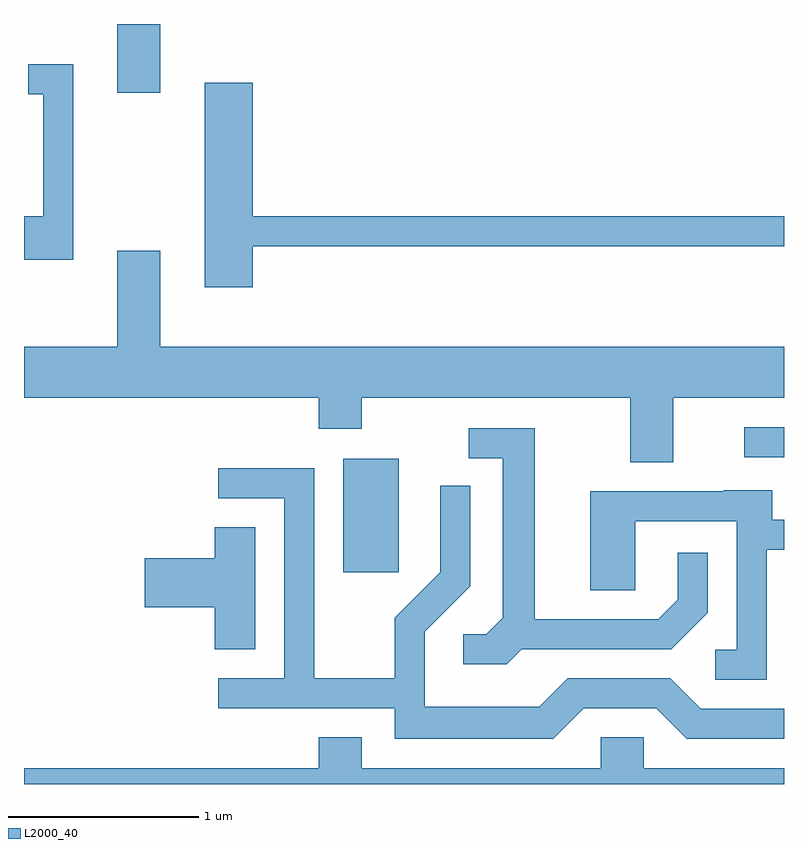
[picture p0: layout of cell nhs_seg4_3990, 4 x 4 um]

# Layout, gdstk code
import gdstk
lib = gdstk.Library(unit=1e-6, precision=1e-09)
def R(c, l, rs):  # rectangles x0, y0, x1, y1
    for r in rs: c.add(gdstk.rectangle(r[:2], r[2:], *l))
def P(c, l, *ps):  # polygons
    for p in ps: c.add(gdstk.Polygon(p, *l))
L2000_40 = (2000, 40)

nhs_seg4_3990 = lib.new_cell('nhs_seg4_3990')
R(nhs_seg4_3990, L2000_40, [(303.291,1347.096,303.584,1347.694), (305.403,1347.701,305.611,1347.859), (302.101,1349.621,302.329,1349.982)])
P(nhs_seg4_3990, L2000_40, [(301.869,1349.769),(301.633,1349.769),(301.633,1349.611),(301.711,1349.611),(301.711,1348.969),(301.611,1348.969),(301.611,1348.741),(301.869,1348.741)],
  [(302.814,1348.811),(305.611,1348.811),(305.611,1348.969),(302.814,1348.969),(302.814,1349.674),(302.561,1349.674),(302.561,1348.596),(302.814,1348.596)],
  [(305.029,1348.016),(305.611,1348.016),(305.611,1348.284),(302.329,1348.284),(302.329,1348.789),(302.101,1348.789),(302.101,1348.284),(301.611,1348.284),(301.611,1348.016),(303.161,1348.016),(303.161,1347.851),(303.389,1347.851),(303.389,1348.016),(304.801,1348.016),(304.801,1347.676),(305.029,1347.676)],
  [(304.232,1346.691),(305.017,1346.691),(305.209,1346.884),(305.209,1347.198),(305.051,1347.198),(305.051,1346.952),(304.949,1346.849),(304.299,1346.849),(304.299,1347.854),(303.953,1347.854),(303.953,1347.696),(304.131,1347.696),(304.131,1346.857),(304.044,1346.769),(303.923,1346.769),(303.923,1346.611),(304.152,1346.611)],
  [(304.557,1346.381),(304.939,1346.381),(305.099,1346.221),(305.611,1346.221),(305.611,1346.379),(305.172,1346.379),(305.012,1346.539),(304.474,1346.539),(304.324,1346.389),(303.719,1346.389),(303.719,1346.784),(303.959,1347.024),(303.959,1347.553),(303.801,1347.553),(303.801,1347.097),(303.561,1346.857),(303.561,1346.539),(303.139,1346.539),(303.139,1347.644),(302.633,1347.644),(302.633,1347.486),(302.981,1347.486),(302.981,1346.539),(302.633,1346.539),(302.633,1346.381),(303.561,1346.381),(303.561,1346.221),(304.397,1346.221)],
  [(305.519,1347.216),(305.611,1347.216),(305.611,1347.374),(305.549,1347.374),(305.549,1347.529),(305.295,1347.529),(305.295,1347.524),(304.591,1347.524),(304.591,1347.001),(304.829,1347.001),(304.829,1347.366),(305.361,1347.366),(305.361,1346.689),(305.248,1346.689),(305.248,1346.531),(305.519,1346.531)],
  [(302.829,1347.334),(302.616,1347.334),(302.616,1347.169),(302.246,1347.169),(302.246,1346.911),(302.616,1346.911),(302.616,1346.691),(302.829,1346.691)],
  [(305.611,1346.064),(304.874,1346.064),(304.874,1346.229),(304.646,1346.229),(304.646,1346.064),(303.389,1346.064),(303.389,1346.229),(303.161,1346.229),(303.161,1346.064),(301.611,1346.064),(301.611,1345.982),(305.611,1345.982)])

lib.write_gds('nhs_seg4_3990.gds')
